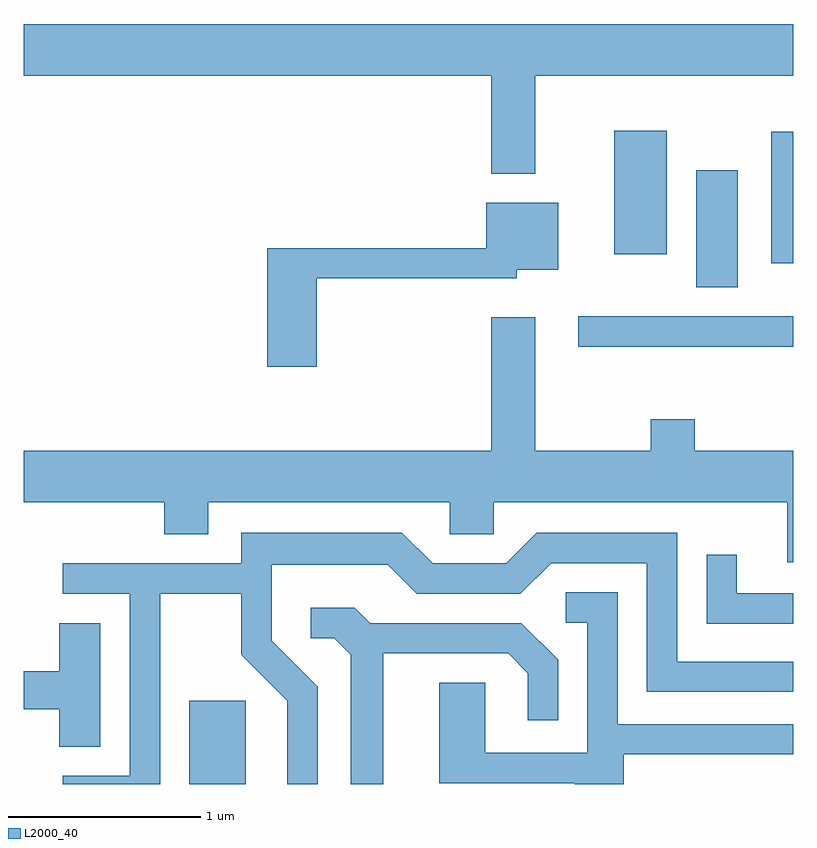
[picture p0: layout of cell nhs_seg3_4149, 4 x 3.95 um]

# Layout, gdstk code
import gdstk
lib = gdstk.Library(unit=1e-6, precision=1e-09)
def R(c, l, rs):  # rectangles x0, y0, x1, y1
    for r in rs: c.add(gdstk.rectangle(r[:2], r[2:], *l))
def P(c, l, *ps):  # polygons
    for p in ps: c.add(gdstk.Polygon(p, *l))
L2000_40 = (2000, 40)

nhs_seg3_4149 = lib.new_cell('nhs_seg3_4149')
R(nhs_seg3_4149, L2000_40, [(308.471,1117.892,308.764,1118.324), (310.493,1120.166,311.611,1120.324), (311.106,1120.476,311.324,1121.084), (311.496,1120.601,311.611,1121.284), (310.681,1120.646,310.954,1121.289)])
P(nhs_seg3_4149, L2000_40, [(310.269,1121.576),(311.611,1121.576),(311.611,1121.844),(307.611,1121.844),(307.611,1121.576),(310.041,1121.576),(310.041,1121.066),(310.269,1121.066)],
  [(309.134,1120.521),(310.174,1120.521),(310.174,1120.566),(310.389,1120.566),(310.389,1120.914),(310.016,1120.914),(310.016,1120.679),(308.876,1120.679),(308.876,1120.061),(309.134,1120.061)],
  [(311.611,1119.624),(311.099,1119.624),(311.099,1119.789),(310.871,1119.789),(310.871,1119.624),(310.269,1119.624),(310.269,1120.319),(310.041,1120.319),(310.041,1119.624),(307.611,1119.624),(307.611,1119.356),(308.341,1119.356),(308.341,1119.191),(308.569,1119.191),(308.569,1119.356),(309.826,1119.356),(309.826,1119.191),(310.054,1119.191),(310.054,1119.356),(311.581,1119.356),(311.581,1119.046),(311.611,1119.046)],
  [(308.319,1118.881),(308.741,1118.881),(308.741,1118.564),(308.981,1118.324),(308.981,1117.892),(309.139,1117.892),(309.139,1118.397),(308.899,1118.637),(308.899,1119.031),(309.504,1119.031),(309.654,1118.881),(310.192,1118.881),(310.352,1119.041),(310.851,1119.041),(310.851,1118.371),(311.611,1118.371),(311.611,1118.529),(311.009,1118.529),(311.009,1119.199),(310.279,1119.199),(310.119,1119.039),(309.737,1119.039),(309.577,1119.199),(308.741,1119.199),(308.741,1119.039),(307.813,1119.039),(307.813,1118.881),(308.161,1118.881),(308.161,1117.934),(307.813,1117.934),(307.813,1117.892),(308.319,1117.892)],
  [(311.611,1118.884),(311.319,1118.884),(311.319,1119.083),(311.161,1119.083),(311.161,1118.726),(311.611,1118.726)],
  [(310.729,1118.046),(311.611,1118.046),(311.611,1118.204),(310.699,1118.204),(310.699,1118.889),(310.428,1118.889),(310.428,1118.731),(310.541,1118.731),(310.541,1118.054),(310.009,1118.054),(310.009,1118.419),(309.771,1118.419),(309.771,1117.896),(310.475,1117.896),(310.475,1117.892),(310.729,1117.892)],
  [(309.479,1118.571),(310.129,1118.571),(310.231,1118.469),(310.231,1118.223),(310.389,1118.223),(310.389,1118.537),(310.197,1118.729),(309.412,1118.729),(309.332,1118.809),(309.103,1118.809),(309.103,1118.651),(309.224,1118.651),(309.311,1118.564),(309.311,1117.892),(309.479,1117.892)],
  [(308.009,1118.729),(307.796,1118.729),(307.796,1118.479),(307.611,1118.479),(307.611,1118.281),(307.796,1118.281),(307.796,1118.086),(308.009,1118.086)])

lib.write_gds('nhs_seg3_4149.gds')
